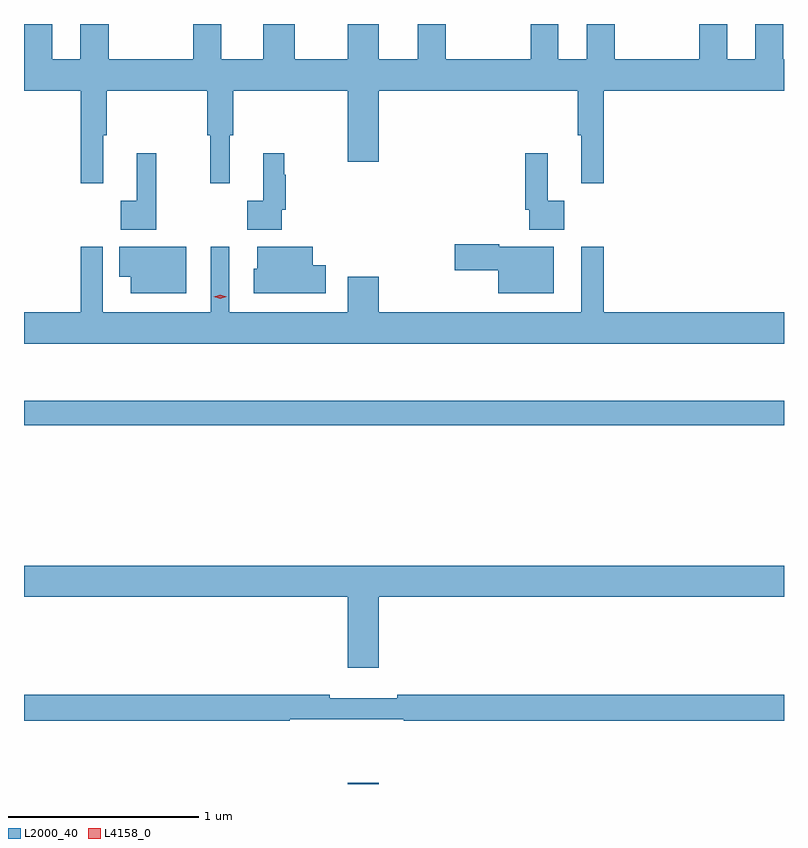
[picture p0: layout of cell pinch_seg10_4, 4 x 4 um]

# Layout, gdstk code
import gdstk
lib = gdstk.Library(unit=1e-6, precision=1e-09)
def R(c, l, rs):  # rectangles x0, y0, x1, y1
    for r in rs: c.add(gdstk.rectangle(r[:2], r[2:], *l))
def P(c, l, *ps):  # polygons
    for p in ps: c.add(gdstk.Polygon(p, *l))
L2000_40 = (2000, 40)
L4158_0 = (4158, 0)

pinch_seg10_4 = lib.new_cell('pinch_seg10_4')
R(pinch_seg10_4, L2000_40, [(1112.06,1259.37,1112.224,1259.377), (1110.356,1261.258,1114.356,1261.387)])
P(pinch_seg10_4, L2000_40, [(1110.773,1262.784),(1110.791,1262.784),(1110.791,1263.02),(1111.321,1263.02),(1111.321,1262.784),(1111.336,1262.784),(1111.336,1262.532),(1111.439,1262.532),(1111.439,1262.784),(1111.457,1262.784),(1111.457,1263.02),(1112.06,1263.02),(1112.06,1262.646),(1112.224,1262.646),(1112.224,1263.02),(1113.271,1263.02),(1113.271,1262.784),(1113.29,1262.784),(1113.29,1262.532),(1113.407,1262.532),(1113.407,1263.02),(1114.356,1263.02),(1114.356,1263.184),(1114.353,1263.184),(1114.353,1263.37),(1114.205,1263.37),(1114.205,1263.184),(1114.057,1263.184),(1114.057,1263.37),(1113.91,1263.37),(1113.91,1263.184),(1113.465,1263.184),(1113.465,1263.37),(1113.317,1263.37),(1113.317,1263.184),(1113.169,1263.184),(1113.169,1263.37),(1113.022,1263.37),(1113.022,1263.184),(1112.577,1263.184),(1112.577,1263.37),(1112.429,1263.37),(1112.429,1263.184),(1112.224,1263.184),(1112.224,1263.37),(1112.06,1263.37),(1112.06,1263.184),(1111.78,1263.184),(1111.78,1263.37),(1111.616,1263.37),(1111.616,1263.184),(1111.393,1263.184),(1111.393,1263.37),(1111.246,1263.37),(1111.246,1263.184),(1110.801,1263.184),(1110.801,1263.37),(1110.653,1263.37),(1110.653,1263.184),(1110.505,1263.184),(1110.505,1263.37),(1110.358,1263.37),(1110.358,1263.184),(1110.356,1263.184),(1110.356,1263.02),(1110.655,1263.02),(1110.655,1262.532),(1110.773,1262.532)],
  [(1111.713,1262.392),(1111.733,1262.392),(1111.733,1262.576),(1111.726,1262.576),(1111.726,1262.689),(1111.616,1262.689),(1111.616,1262.441),(1111.53,1262.441),(1111.53,1262.288),(1111.713,1262.288)],
  [(1111.052,1262.689),(1110.95,1262.689),(1110.95,1262.441),(1110.864,1262.441),(1110.864,1262.288),(1111.052,1262.288)],
  [(1113.199,1262.441),(1113.113,1262.441),(1113.113,1262.689),(1112.995,1262.689),(1112.995,1262.392),(1113.015,1262.392),(1113.015,1262.288),(1113.199,1262.288)],
  [(1113.145,1262.197),(1112.856,1262.197),(1112.856,1262.21),(1112.622,1262.21),(1112.622,1262.075),(1112.852,1262.075),(1112.852,1261.952),(1113.145,1261.952)],
  [(1111.945,1262.099),(1111.876,1262.099),(1111.876,1262.197),(1111.583,1262.197),(1111.583,1262.082),(1111.565,1262.082),(1111.565,1261.952),(1111.945,1261.952)],
  [(1111.21,1262.197),(1110.856,1262.197),(1110.856,1262.039),(1110.917,1262.039),(1110.917,1261.952),(1111.21,1261.952)],
  [(1114.356,1261.852),(1113.407,1261.852),(1113.407,1262.197),(1113.29,1262.197),(1113.29,1261.852),(1112.224,1261.852),(1112.224,1262.041),(1112.06,1262.041),(1112.06,1261.852),(1111.437,1261.852),(1111.437,1262.197),(1111.34,1262.197),(1111.34,1261.852),(1110.771,1261.852),(1110.771,1262.197),(1110.655,1262.197),(1110.655,1261.852),(1110.356,1261.852),(1110.356,1261.688),(1114.356,1261.688)],
  [(1112.224,1260.356),(1114.356,1260.356),(1114.356,1260.52),(1110.356,1260.52),(1110.356,1260.356),(1112.06,1260.356),(1112.06,1259.982),(1112.224,1259.982)],
  [(1111.755,1259.712),(1112.355,1259.712),(1112.355,1259.704),(1114.356,1259.704),(1114.356,1259.84),(1112.32,1259.84),(1112.32,1259.821),(1111.964,1259.821),(1111.964,1259.84),(1110.356,1259.84),(1110.356,1259.704),(1111.755,1259.704)])
P(pinch_seg10_4, L4158_0, [(1111.389,1261.925),(1111.354,1261.935),(1111.354,1261.935),(1111.354,1261.935),(1111.389,1261.945),(1111.423,1261.935),(1111.423,1261.935),(1111.423,1261.935)])

lib.write_gds('pinch_seg10_4.gds')
